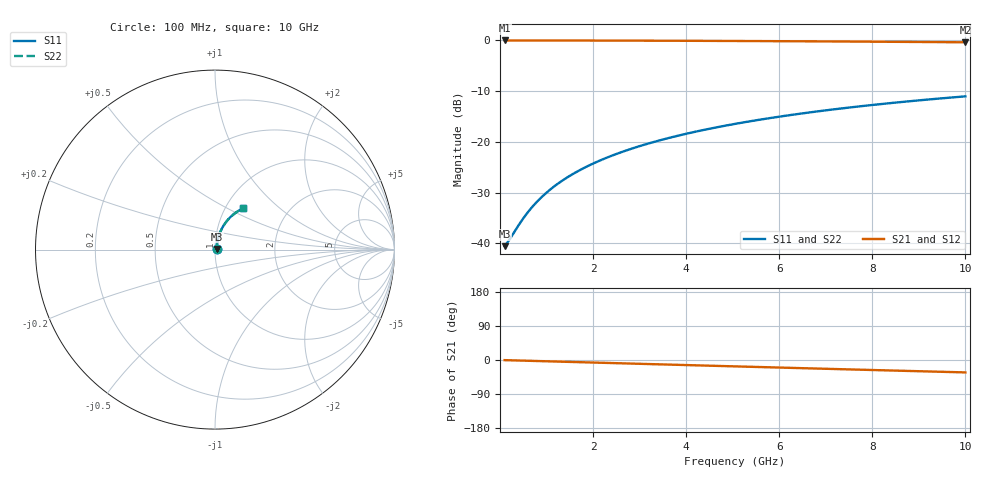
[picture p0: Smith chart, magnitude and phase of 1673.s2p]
# Hz S RI R 50.00
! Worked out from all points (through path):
!   100 points, 100 MHz to 10 GHz, reference 50 ohm
!   highest |S21| = -0.08 dB at 100 MHz (marker M1); lowest = -0.4 dB at 10 GHz (marker M2)
!   group delay of S21, straight-line fit = 9.11 ps
!   lowest |S11| = -40.5 dB at 100 MHz (marker M3), VSWR 1.02, Z = 50.9 + j0.303 ohm
!   |S11| at or under -10 dB: start of sweep to end of sweep
!   |S22| runs from -40.5 to -11.1 dB; largest |S21 - S12| = 0
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1e8  0.00893 0.00298  0.9911 -0.0058  0.9911 -0.0058  0.00893 0.00298
2e8  0.00904 0.00595  0.9909 -0.0116  0.9909 -0.0116  0.00904 0.00595
4e8  0.00932 0.0119  0.9906 -0.0232  0.9906 -0.0232  0.00932 0.0119
5e8  0.00951 0.0149  0.9904 -0.029  0.9904 -0.029  0.00951 0.0149
6e8  0.00973 0.0178  0.9901 -0.0348  0.9901 -0.0348  0.00973 0.0178
7e8  0.00998 0.0208  0.9898 -0.0406  0.9898 -0.0406  0.00998 0.0208
9e8  0.0106 0.0267  0.9891 -0.0521  0.9891 -0.0521  0.0106 0.0267
1.1e9  0.0113 0.0326  0.9882 -0.0637  0.9882 -0.0637  0.0113 0.0326
1.3e9  0.0122 0.0385  0.9871 -0.0752  0.9871 -0.0752  0.0122 0.0385
1.5e9  0.0132 0.0443  0.9859 -0.0867  0.9859 -0.0867  0.0132 0.0443
1.8e9  0.0149 0.0531  0.9837 -0.1039  0.9837 -0.1039  0.0149 0.0531
2.1e9  0.017 0.0617  0.9812 -0.1211  0.9812 -0.1211  0.017 0.0617
2.5e9  0.0202 0.0731  0.9773 -0.1438  0.9773 -0.1438  0.0202 0.0731
2.9e9  0.0239 0.0843  0.9727 -0.1663  0.9727 -0.1663  0.0239 0.0843
3.4e9  0.0292 0.0981  0.966 -0.1942  0.966 -0.1942  0.0292 0.0981
4.2e9  0.0394 0.1192  0.9534 -0.2381  0.9534 -0.2381  0.0394 0.1192
5.1e9  0.053 0.1417  0.9363 -0.2861  0.9363 -0.2861  0.053 0.1417
5.9e9  0.0669 0.1603  0.9188 -0.3274  0.9188 -0.3274  0.0669 0.1603
6.7e9  0.0824 0.1774  0.8992 -0.3672  0.8992 -0.3672  0.0824 0.1774
7.5e9  0.0992 0.1929  0.8776 -0.4055  0.8776 -0.4055  0.0992 0.1929
8.4e9  0.1195 0.2084  0.8513 -0.4466  0.8513 -0.4466  0.1195 0.2084
1e10  0.1586 0.2303  0.7998 -0.5142  0.7998 -0.5142  0.1586 0.2303
